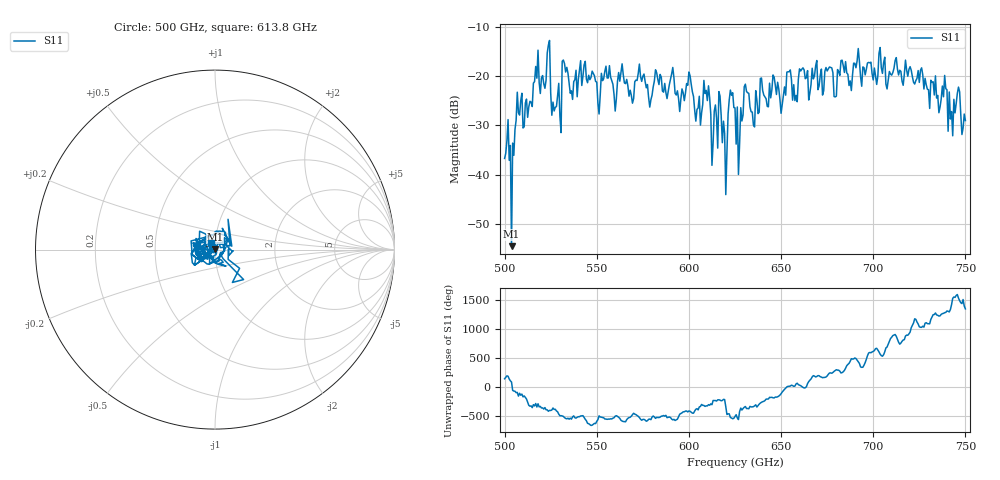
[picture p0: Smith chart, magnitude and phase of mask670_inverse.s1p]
!Created with skrf (http://scikit-rf.org).
# GHz S MA R 50.0
!freq magS11 angS11
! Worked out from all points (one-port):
!   401 points, 500 GHz to 750 GHz, reference 50 ohm
!   lowest |S11| = -54.5 dB at 503.8 GHz (marker M1), VSWR 1.00, Z = 50 + j0.185 ohm
!   |S11| at or under -10 dB: start of sweep to end of sweep
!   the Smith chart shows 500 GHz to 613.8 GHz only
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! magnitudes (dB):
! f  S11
! 500 GHz  -36.7
! 503.8 GHz  -54.5
! 508.1 GHz  -27.9
! 513.8 GHz  -25.1
! 516.9 GHz  -18.0
! 523.8 GHz  -13.7
! 526.9 GHz  -27.1
! 531.2 GHz  -17.0
! 532.5 GHz  -17.4
! 550.6 GHz  -25.5
! 562.5 GHz  -21.0
! 593.8 GHz  -23.0
! 600 GHz  -19.1
! 605 GHz  -26.5
! 609.4 GHz  -22.9
! 612.5 GHz  -38.1
! 617.5 GHz  -28.0
! 619.4 GHz  -31.6
! 622.5 GHz  -22.8
! 625 GHz  -26.4
! 626.9 GHz  -40.0
! 631.2 GHz  -23.1
! 634.4 GHz  -27.3
! 640 GHz  -22.9
! 656.2 GHz  -24.9
! 687.5 GHz  -21.0
! 718.8 GHz  -20.0
! 750 GHz  -29.0
